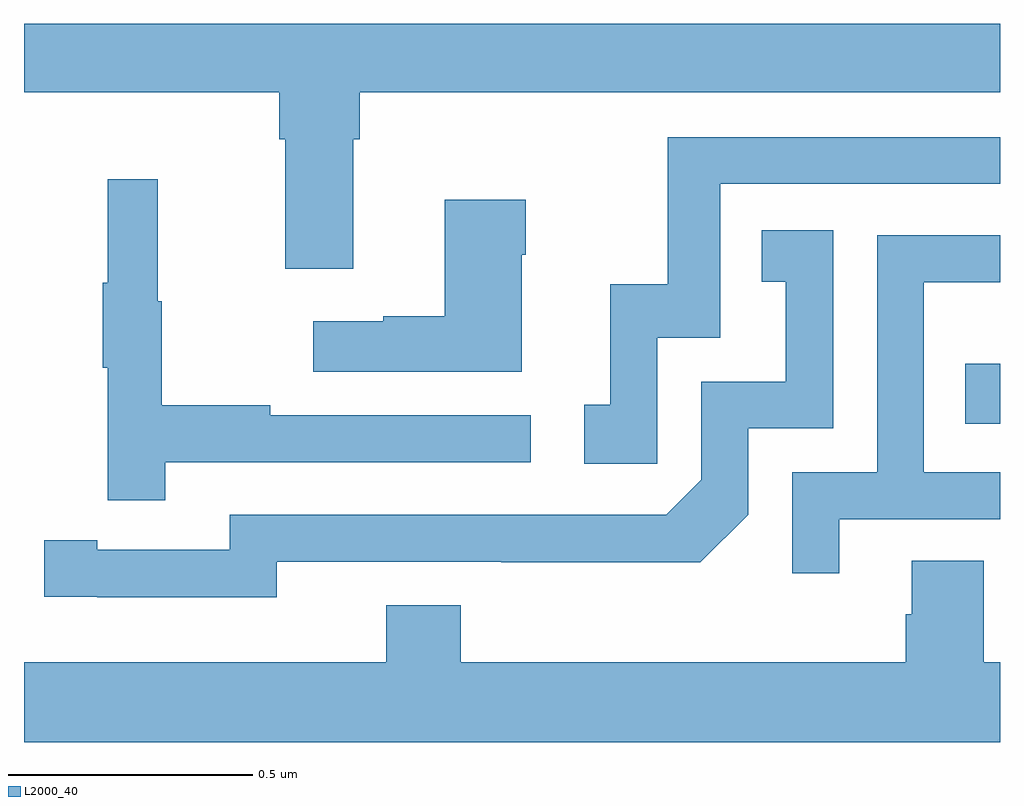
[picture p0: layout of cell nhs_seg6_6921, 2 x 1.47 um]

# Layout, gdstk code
import gdstk
lib = gdstk.Library(unit=1e-6, precision=1e-09)
def R(c, l, rs):  # rectangles x0, y0, x1, y1
    for r in rs: c.add(gdstk.rectangle(r[:2], r[2:], *l))
def P(c, l, *ps):  # polygons
    for p in ps: c.add(gdstk.Polygon(p, *l))
L2000_40 = (2000, 40)

nhs_seg6_6921 = lib.new_cell('nhs_seg6_6921')
R(nhs_seg6_6921, L2000_40, [(203.929,922.68,204,922.803)])
P(nhs_seg6_6921, L2000_40, [(202.675,923.264),(202.688,923.264),(202.688,923.36),(204,923.36),(204,923.5),(202,923.5),(202,923.36),(202.523,923.36),(202.523,923.264),(202.535,923.264),(202.535,922.998),(202.675,922.998)],
  [(203.298,922.857),(203.427,922.857),(203.427,923.172),(204,923.172),(204,923.268),(203.319,923.268),(203.319,922.966),(203.201,922.966),(203.201,922.719),(203.148,922.719),(203.148,922.599),(203.298,922.599)],
  [(202.289,922.602),(203.038,922.602),(203.038,922.698),(202.505,922.698),(202.505,922.718),(202.282,922.718),(202.282,922.932),(202.274,922.932),(202.274,923.182),(202.172,923.182),(202.172,922.969),(202.161,922.969),(202.161,922.795),(202.172,922.795),(202.172,922.524),(202.289,922.524)],
  [(203.02,923.027),(203.028,923.027),(203.028,923.14),(202.862,923.14),(202.862,922.901),(202.736,922.901),(202.736,922.891),(202.593,922.891),(202.593,922.787),(203.02,922.787)],
  [(202.518,922.398),(202.978,922.398),(202.978,922.397),(203.386,922.397),(203.484,922.494),(203.484,922.671),(203.658,922.671),(203.658,923.077),(203.512,923.077),(203.512,922.971),(203.561,922.971),(203.561,922.767),(203.388,922.767),(203.388,922.566),(203.316,922.494),(202.422,922.494),(202.422,922.422),(202.15,922.422),(202.15,922.442),(202.042,922.442),(202.042,922.326),(202.15,922.326),(202.15,922.325),(202.518,922.325)],
  [(203.671,922.485),(204,922.485),(204,922.581),(203.844,922.581),(203.844,922.97),(204,922.97),(204,923.067),(203.748,923.067),(203.748,922.581),(203.574,922.581),(203.574,922.374),(203.671,922.374)],
  [(204,922.192),(203.967,922.192),(203.967,922.4),(203.819,922.4),(203.819,922.29),(203.807,922.29),(203.807,922.192),(202.895,922.192),(202.895,922.309),(202.742,922.309),(202.742,922.192),(202,922.192),(202,922.028),(204,922.028)])

lib.write_gds('nhs_seg6_6921.gds')
